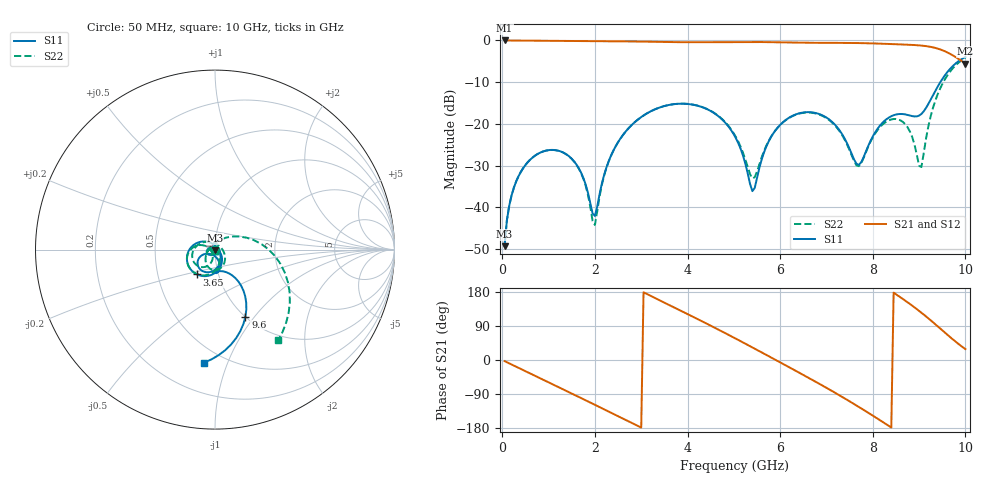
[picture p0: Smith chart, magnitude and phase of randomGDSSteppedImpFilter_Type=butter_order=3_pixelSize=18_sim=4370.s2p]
! freq	dB(S11)	phase(S11)	dB(S12)	phase(S12)
!  dB(S21)	phase(S21)	dB(S22)	phase(S22)
!S-par simulation data
#  GHz  S  DB  R 50
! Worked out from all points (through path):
!   200 points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, 50 MHz to 10 GHz, reference 50 ohm
!   highest |S21| = -0.01 dB at 50 MHz (marker M1); lowest = -5.5 dB at 10 GHz (marker M2)
!   group delay of S21, straight-line fit = 185 ps
!   lowest |S11| = -49.3 dB at 50 MHz (marker M3), VSWR 1.01, Z = 50 - j0.342 ohm
!   |S11| at or under -10 dB: start of sweep to 9.459 GHz
!   |S22| runs from -48.7 to -4.2 dB; largest |S21 - S12| = 0
!   S11 on the Smith chart (normalised r, x): 50 MHz: 1.00, -0.01; 3.65 GHz: 0.79, -0.23; 9.6 GHz: 1.00, -0.90; 10 GHz: 0.39, -0.83
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0.05  -49.30 -84.8  -0.01 -3.0  -0.01 -3.0  -48.72 -85.0
0.25  -35.27 -104.1  -0.03 -14.8  -0.03 -14.8  -35.29 -103.0
0.65  -28.09 -130.3  -0.06 -38.4  -0.06 -38.4  -28.09 -127.2
1.3  -26.78 -172.6  -0.10 -76.6  -0.10 -76.6  -26.79 -163.3
1.75  -32.94 148.9  -0.12 -103.3  -0.12 -103.3  -33.12 179.1
2  -42.06 52.4  -0.14 -118.2  -0.14 -118.2  -44.21 -106.8
2.2  -32.18 -20.7  -0.15 -130.2  -0.15 -130.2  -32.34 -56.6
2.45  -25.32 -46.2  -0.18 -145.2  -0.18 -145.2  -25.34 -63.3
3.4  -16.06 -110.0  -0.36 157.5  -0.36 157.5  -16.05 -114.4
3.65  -15.36 -125.7  -0.40 142.4  -0.40 142.4  -15.35 -128.6
4.4  -16.36 -173.3  -0.42 96.8  -0.42 96.8  -16.32 -170.7
5.05  -23.55 138.0  -0.37 55.9  -0.37 55.9  -23.26 159.9
5.4  -36.11 46.1  -0.37 33.2  -0.37 33.2  -33.05 -158.1
5.9  -21.53 -72.9  -0.43 0.4  -0.43 0.4  -21.51 -108.9
6.7  -17.25 -127.5  -0.57 -52.9  -0.57 -52.9  -17.36 -157.3
7.7  -29.80 -111.8  -0.63 -123.9  -0.63 -123.9  -30.13 46.2
8.35  -18.46 -79.8  -0.84 -174.2  -0.84 -174.2  -19.12 -77.4
8.75  -17.84 -87.6  -1.02 152.4  -1.02 152.4  -20.79 -122.8
9.05  -17.61 -68.0  -1.23 124.8  -1.23 124.8  -30.34 116.6
9.3  -13.13 -53.8  -1.66 99.7  -1.66 99.7  -16.16 27.9
9.6  -7.73 -65.6  -2.82 67.8  -2.82 67.8  -8.56 -12.3
10  -3.97 -95.6  -5.54 28.8  -5.54 28.8  -4.21 -55.3
